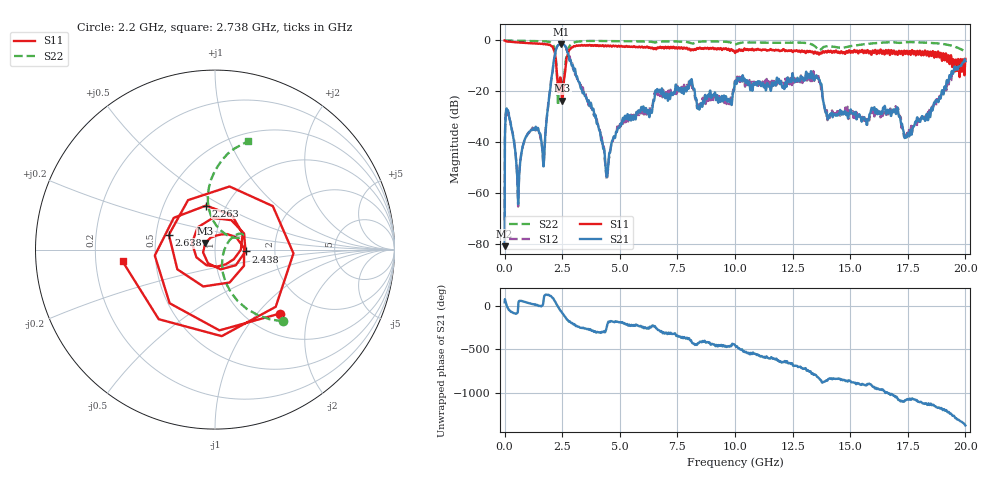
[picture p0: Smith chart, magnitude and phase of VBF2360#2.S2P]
!Agilent Technologies,E5071C,MY46215201,A.10.06
!Date: Mon Nov 18 15:29:36 2019
!Data & Calibration Information:
!Freq	S11:SOLT2(ON)	S21:SOLT2(ON)	S12:SOLT2(ON)	S22:SOLT2(ON)
!PortZ  Port1:50+j0  Port2:50+j0
!Above PortZ is port z conversion or system Z0 setting when saving the data.
!When reading, reference impedance value at option line is always used.
# Hz S dB R 50
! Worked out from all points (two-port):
!   1601 points, 300 kHz to 20 GHz, reference 50 ohm
!   highest |S21| = -1.55 dB at 2.463 GHz (marker M1); lowest = -81.0 dB at 300 kHz (marker M2)
!   |S21| within 3 dB of the highest: 2.206 GHz to 2.723 GHz (516.9 MHz wide, 21 % of centre)
!   lowest |S11| = -23.6 dB at 2.5 GHz (marker M3), VSWR 1.14, Z = 44.7 + j3.33 ohm
!   |S11| at or under -10 dB: 2.243 GHz to 2.651 GHz (407.9 MHz wide, 16.7 % of centre); 19.51181 GHz to 19.55225 GHz (40.44 MHz wide, 0.207 % of centre); 19.72007 GHz to 19.76902 GHz (48.95 MHz wide, 0.248 % of centre)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
!   |S22| runs from -25.7 to 0.0 dB; largest |S21 - S12| = 0.099
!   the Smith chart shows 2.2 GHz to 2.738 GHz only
!   S11 on the Smith chart (normalised r, x): 2.2 GHz: 1.39, -1.33; 2.263 GHz: 0.81, +0.42; 2.438 GHz: 1.41, -0.03; 2.638 GHz: 0.58, +0.10; 2.738 GHz: 0.32, -0.06
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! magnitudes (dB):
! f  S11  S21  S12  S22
! 300 kHz  0.0  -81.0  -70.9  0.0
! 137.8 MHz  -0.4  -27.5  -27.6  -0.1
! 587.8 MHz  -0.8  -64.4  -65.4  -0.1
! 1.125 GHz  -1.1  -35.4  -35.8  -0.2
! 1.675 GHz  -1.5  -48.4  -47.9  -0.3
! 2.2 GHz  -5.9  -4.9  -4.8  -5.2
! 2.263 GHz  -12.0  -2.9  -2.5  -12.0
! 2.438 GHz  -15.4  -1.6  -1.6  -15.1
! 2.463 GHz  -18.8  -1.5  -1.6  -15.7
! 2.5 GHz  -23.6  -1.6  -1.5  -18.0
! 2.638 GHz  -11.4  -2.3  -2.3  -9.2
! 2.738 GHz  -5.7  -4.9  -4.3  -4.0
! 3.338 GHz  -1.8  -19.1  -18.6  -0.3
! 4.438 GHz  -2.3  -53.7  -54.8  -0.2
! 4.925 GHz  -2.2  -34.4  -35.3  -0.2
! 6.675 GHz  -2.9  -20.2  -20.1  -0.5
! 10 GHz  -4.9  -16.5  -16.2  -1.5
! 13.34 GHz  -4.4  -14.8  -16.0  -1.6
! 14.04 GHz  -4.0  -30.9  -30.0  -2.3
! 16.68 GHz  -3.8  -28.7  -28.7  -0.7
! 17.48 GHz  -4.2  -37.6  -36.4  -0.7
! 20 GHz  -7.2  -8.1  -8.8  -4.5
